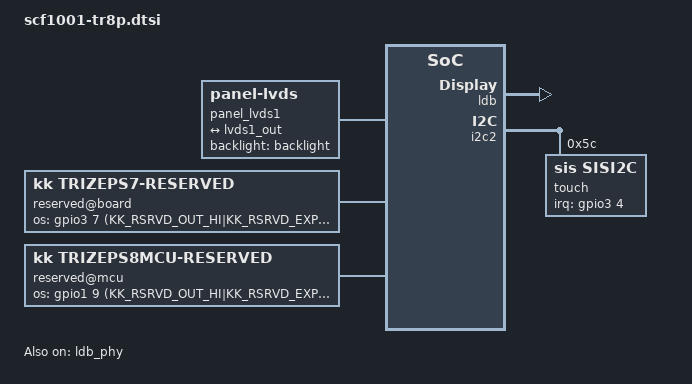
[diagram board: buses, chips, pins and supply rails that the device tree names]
/*
 * Copyright 2021 Keith & Koep GmbH
 *
 */

/*
Remarks:
Defines:
*/

#ifndef PANEL_SCF1001_DTSI
#define PANEL_SCF1001_DTSI


/ {
	panel_lvds1: panel1 {
		status          = "okay";
		compatible   = "panel-lvds";
		data-mapping = "vesa-24";
/*
		width-mm = <154>;
		height-mm = <86>;
*/
		width-mm = <217>;
		height-mm = <136>;
		backlight = <&backlight>;
		enable-gpios = <spin100_gpio GPIO_ACTIVE_HIGH>;

/*
		panel-timing {
			clock-frequency = <51206400>;
			hactive = <1024>;
			vactive = <600>;
			hfront-porch = <159>;
			hsync-len = <2>;
			hback-porch = <159>;
			vfront-porch = <17>;
			vsync-len = <1>;
			vback-porch = <17>;
		};
*/
		panel-timing {
			clock-frequency = <24390000>;
			hactive = <1280>;
			vactive = <800>;
			hfront-porch = <48>;
			hsync-len = <60>;
			hback-porch = <52>;
			vfront-porch = <10>;
			vsync-len = <3>;
			vback-porch = <10>;
		};

		port {
			panel_lvds1_in: endpoint {
				remote-endpoint = <&lvds1_out>;
			};
		};
	};

	reserved@board {
		compatible    = "kk,trizeps7-reserved";
		kk,gpio-names = "DISPLAY_PWR";
		kk,os-gpios   = <
			&gpio3 7 (KK_RSRVD_OUT_HI|KK_RSRVD_EXPORT|KK_RSRVD_REQUEST(0))
			>;
	};

	reserved@mcu {
		compatible     = "kk,trizeps8mcu-reserved";
/********************************************************************************************************************
* MCU Pin         6        5        4        3    20    21    23     9  24                  26          11         10
* GPIO          1.0      1.1       1.2     1.3   1.4   1.5   1.6   1.7                     1.8         1.9       1.10
* -------------------------------------------------------------------------------------------------------------------
* TR8MINI   VIN_AD3  VIN_AD2  VIN_AD1  VIN_AD0  TSPX  TSMX  TSPY  TSMY  RTCLK         nRESET_O     CAN1_RX    CAN1_TX
*                                                                                    +NAND-DQS
* SODIMM_MINI     2        4       6         8    14   16     18    20   -                  87          75        99
*
* TR8PLUS   VIN_AD3  VIN_AD2  VIN_AD1  VIN_AD0  TSPX  TSMX  TSPY  TSMY  nRESET_O  /WLANPWRDOWN      CIF_D9 /RF_DISABLE
*                                                                      +NAND-DQS
* SODIMM_PLUS     2        4       6         8    14   16     18    20       87             -           75          -
* -------------------------------------------------------------------------------------------------------------------
* *******************************************************************************************************************
*/
        kk,gpio-names  = "WAKE";
        kk,os-gpios = <
			&gpio1 9 (KK_RSRVD_OUT_HI|KK_RSRVD_EXPORT|KK_RSRVD_REQUEST(0))
			>;
	};
};


#define TOUCH_INT	SPIN45_GPIO
#define touch_int_parent  &gpio3
#define touch_int_pin     4

&iomuxc {
	pinctrl_captouch: captouchgrp {
		fsl,pins = <
			TOUCH_INT  		PAD_GPIO // IRQ
		>;
	};
};


&ldb {
	status = "okay";
	lvds-channel@0 {
		status = "okay";
		fsl,data-mapping = "spwg";
		fsl,data-width = <24>;
		port@1 {
			reg = <1>;
			lvds1_out: endpoint {
				remote-endpoint = <&panel_lvds1_in>;
			};
		};
	};
};

&ldb_phy {
	status = "okay";
};


#define GUF
#ifndef GUF
&i2c2 {
	touch: sis9255@5c {
		compatible       = "sis,9200-ts";
		reg              = <0x5c>;
		pinctrl-names    = "default";
		pinctrl-0        = <&pinctrl_captouch>;
		interrupt-parent = <touch_int_parent>;
		interrupts       = <touch_int_pin IRQ_TYPE_LEVEL_LOW>;
		irq-gpio         = <&gpio3 4 IRQ_TYPE_LEVEL_LOW>;
		/*
		//compatible       = "sis,sisi2c";
		//interrupt-parent = <&gpio3>;
		//interrupts       = <4 IRQ_TYPE_LEVEL_LOW>;
		//irq-gpio         = <&gpio3 4 IRQ_TYPE_LEVEL_LOW>;
		//irq-gpio       = <touch_int_pin IRQ_TYPE_LEVEL_LOW>;
		//irq-low-active   = <1>;
		*/
	};
};
#else
&i2c2 {
	touch: sis9255@5c {
		compatible       = "sis,sisi2c"; // GuF version
		reg              = <0x5c>;
		pinctrl-names    = "default";
		pinctrl-0        = <&pinctrl_captouch>;
		interrupt-parent = <touch_int_parent>;
		//interrupts       = <touch_int_pin IRQ_TYPE_LEVEL_LOW>;
		interrupts       = <touch_int_pin IRQ_TYPE_LEVEL_HIGH>;
		//reset-gpio       = <>;
		//wake-gpio        = <>;
		//irq-gpio         = <&gpio3 4 IRQ_TYPE_LEVEL_LOW>;
		irq-gpio         = <&gpio3 4 IRQ_TYPE_LEVEL_HIGH>;
		//irq-low-active;//   = <0>;
	};
};

#endif

#endif
